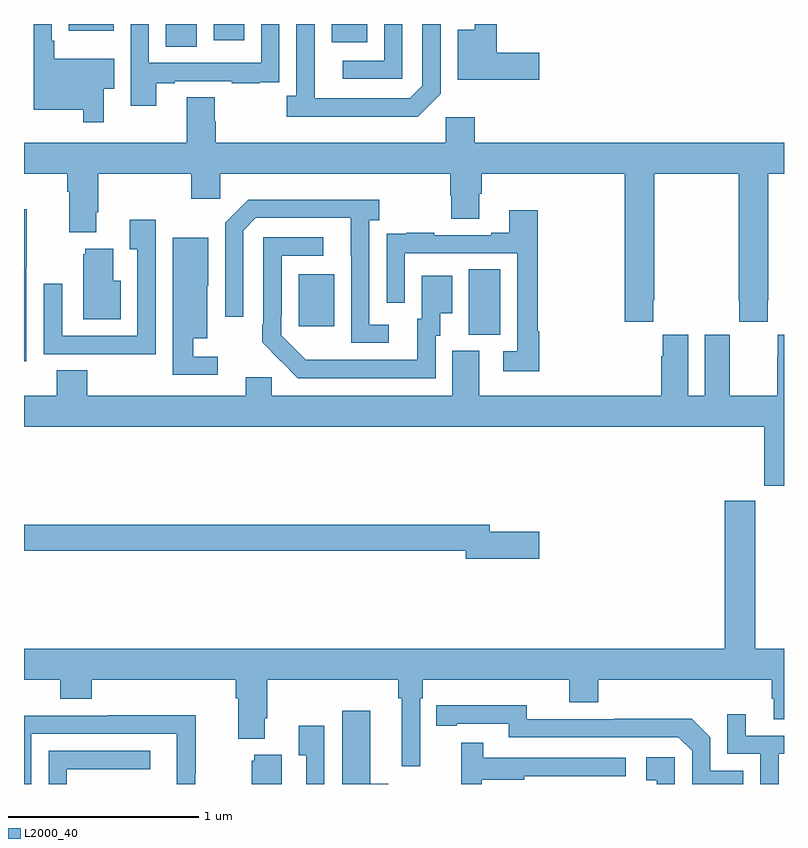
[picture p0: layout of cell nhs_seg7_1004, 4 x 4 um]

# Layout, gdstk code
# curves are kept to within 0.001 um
import gdstk
lib = gdstk.Library(unit=1e-6, precision=1e-09)
def R(c, l, rs):  # rectangles x0, y0, x1, y1
    for r in rs: c.add(gdstk.rectangle(r[:2], r[2:], *l))
def P(c, l, *ps):  # polygons
    for p in ps: c.add(gdstk.Polygon(p, *l))
L2000_40 = (2000, 40)

nhs_seg7_1004 = lib.new_cell('nhs_seg7_1004')
R(nhs_seg7_1004, L2000_40, [(185.342,1070.365,185.506,1070.708), (184.445,1070.409,184.633,1070.683), (183.746,1071.88,183.91,1072), (184.619,1071.905,184.807,1072), (183.998,1071.915,184.159,1072), (183.236,1071.965,183.472,1072)])
P(nhs_seg7_1004, L2000_40, [(185.713,1071.848),(185.489,1071.848),(185.489,1072),(185.372,1072),(185.372,1071.97),(185.282,1071.97),(185.282,1071.706),(185.713,1071.706)],
  [(183.697,1071.687),(183.793,1071.687),(183.793,1071.699),(184.093,1071.699),(184.093,1071.687),(184.241,1071.687),(184.241,1071.693),(184.343,1071.693),(184.343,1071.802),(184.344,1071.802),(184.344,1072),(184.248,1072),(184.248,1071.795),(183.657,1071.795),(183.657,1072),(183.561,1072),(183.561,1071.57),(183.697,1071.57)],
  [(183.421,1071.659),(183.475,1071.659),(183.475,1071.817),(183.16,1071.817),(183.16,1071.913),(183.147,1071.913),(183.147,1072),(183.05,1072),(183.05,1071.548),(183.312,1071.548),(183.312,1071.483),(183.421,1071.483)],
  [(184.992,1072),(184.896,1072),(184.896,1071.807),(184.677,1071.807),(184.677,1071.711),(184.992,1071.711)],
  [(185.193,1071.633),(185.193,1072),(185.097,1072),(185.097,1071.675),(185.031,1071.609),(184.531,1071.609),(184.53,1072),(184.434,1072),(184.434,1071.622),(184.383,1071.622),(184.383,1071.512),(185.072,1071.512)],
  [(186.311,1070.545),(186.318,1070.545),(186.318,1071.212),(186.763,1071.212),(186.763,1070.545),(186.765,1070.545),(186.765,1070.433),(186.915,1070.433),(186.915,1070.545),(186.918,1070.545),(186.918,1071.212),(187,1071.212),(187,1071.376),(185.372,1071.376),(185.372,1071.508),(185.22,1071.508),(185.22,1071.376),(184.01,1071.376),(184.01,1071.489),(184.005,1071.489),(184.005,1071.614),(183.857,1071.614),(183.857,1071.376),(183,1071.376),(183,1071.212),(183.227,1071.212),(183.227,1071.116),(183.239,1071.116),(183.239,1070.903),(183.379,1070.903),(183.379,1071.01),(183.392,1071.01),(183.392,1071.212),(183.881,1071.212),(183.881,1071.081),(184.032,1071.081),(184.032,1071.212),(185.243,1071.212),(185.243,1071.099),(185.248,1071.099),(185.248,1070.974),(185.395,1070.974),(185.395,1071.106),(185.408,1071.106),(185.408,1071.212),(186.163,1071.212),(186.163,1070.433),(186.311,1070.433)],
  [(184.921,1070.418),(184.818,1070.418),(184.818,1070.966),(184.87,1070.966),(184.87,1071.076),(184.18,1071.076),(184.059,1070.955),(184.059,1070.46),(184.155,1070.46),(184.155,1070.913),(184.221,1070.979),(184.721,1070.979),(184.722,1070.322),(184.921,1070.322)],
  [(183.012,1070.719),(183.015,1070.719),(183.015,1071.026),(183,1071.026),(183,1070.226),(183.012,1070.226)],
  [(185.711,1070.384),(185.704,1070.384),(185.704,1071.019),(185.555,1071.019),(185.555,1070.902),(185.459,1070.902),(185.459,1070.889),(185.159,1070.889),(185.159,1070.902),(185.011,1070.902),(185.011,1070.895),(184.909,1070.895),(184.909,1070.786),(184.908,1070.786),(184.908,1070.532),(185.004,1070.532),(185.004,1070.793),(185.595,1070.793),(185.595,1070.277),(185.523,1070.277),(185.523,1070.172),(185.711,1070.172)],
  [(183.693,1070.971),(183.557,1070.971),(183.557,1070.815),(183.597,1070.815),(183.597,1070.358),(183.201,1070.358),(183.201,1070.632),(183.105,1070.632),(183.105,1070.262),(183.421,1070.262),(183.421,1070.261),(183.693,1070.261)],
  [(185.166,1070.358),(185.191,1070.358),(185.191,1070.477),(185.254,1070.477),(185.254,1070.674),(185.093,1070.674),(185.093,1070.448),(185.069,1070.448),(185.069,1070.232),(184.482,1070.233),(184.353,1070.361),(184.353,1070.461),(184.356,1070.461),(184.356,1070.781),(184.576,1070.781),(184.576,1070.877),(184.26,1070.877),(184.26,1070.419),(184.253,1070.419),(184.253,1070.324),(184.35,1070.226),(184.351,1070.227),(184.442,1070.136),(185.166,1070.136)],
  [(184.021,1070.25),(183.892,1070.25),(183.892,1070.345),(183.964,1070.345),(183.964,1070.622),(183.97,1070.622),(183.97,1070.875),(183.782,1070.875),(183.782,1070.449),(183.783,1070.449),(183.783,1070.154),(184.021,1070.154)],
  [(183.508,1070.65),(183.469,1070.65),(183.469,1070.818),(183.323,1070.818),(183.323,1070.787),(183.311,1070.787),(183.311,1070.447),(183.508,1070.447)],
  [(187,1070.365),(186.966,1070.365),(186.966,1070.252),(186.965,1070.252),(186.965,1070.044),(186.715,1070.044),(186.715,1070.252),(186.714,1070.252),(186.714,1070.365),(186.584,1070.365),(186.584,1070.044),(186.496,1070.044),(186.496,1070.365),(186.362,1070.365),(186.362,1070.252),(186.353,1070.252),(186.353,1070.044),(185.395,1070.044),(185.395,1070.28),(185.255,1070.28),(185.255,1070.044),(184.305,1070.044),(184.305,1070.142),(184.166,1070.142),(184.166,1070.044),(183.333,1070.044),(183.333,1070.177),(183.173,1070.177),(183.173,1070.044),(183,1070.044),(183,1069.88),(186.896,1069.88),(186.896,1069.571),(187,1069.571)],
  [(185.085,1068.452),(185.099,1068.452),(185.099,1068.548),(185.87,1068.548),(185.87,1068.431),(186.023,1068.431),(186.023,1068.548),(186.935,1068.548),(186.935,1068.45),(186.947,1068.45),(186.947,1068.34),(187,1068.34),(187,1068.712),(186.849,1068.712),(186.849,1069.492),(186.689,1069.492),(186.689,1068.712),(183,1068.712),(183,1068.548),(183.191,1068.548),(183.191,1068.449),(183.356,1068.449),(183.356,1068.548),(184.115,1068.548),(184.115,1068.452),(184.127,1068.452),(184.127,1068.239),(184.267,1068.239),(184.267,1068.346),(184.28,1068.346),(184.28,1068.548),(184.969,1068.548),(184.969,1068.452),(184.988,1068.452),(184.988,1068.093),(185.085,1068.093)],
  [(185.713,1069.328),(185.452,1069.328),(185.452,1069.364),(183,1069.364),(183,1069.228),(185.324,1069.228),(185.324,1069.186),(185.713,1069.186)],
  [(186.786,1068.069),(186.612,1068.069),(186.612,1068.246),(186.514,1068.344),(186.106,1068.344),(186.106,1068.342),(185.646,1068.342),(185.646,1068.415),(185.17,1068.414),(185.17,1068.306),(185.278,1068.306),(185.278,1068.318),(185.55,1068.318),(185.55,1068.246),(186.444,1068.246),(186.516,1068.174),(186.516,1068),(186.786,1068)],
  [(184.918,1068.002),(184.822,1068.002),(184.822,1068.385),(184.676,1068.385),(184.676,1068),(184.918,1068)],
  [(186.972,1068.159),(187,1068.159),(187,1068.255),(186.799,1068.255),(186.799,1068.367),(186.702,1068.367),(186.702,1068.159),(186.876,1068.159),(186.876,1068),(186.972,1068)],
  [(183.039,1068.264),(183.804,1068.264),(183.804,1068),(183.9,1068),(183.9,1068.055),(183.903,1068.055),(183.903,1068.362),(183.439,1068.362),(183.439,1068.36),(183,1068.36),(183,1068),(183.039,1068)],
  [(184.581,1068.307),(184.445,1068.307),(184.445,1068.151),(184.485,1068.151),(184.485,1068),(184.581,1068)],
  [(185.41,1068.022),(185.633,1068.022),(185.633,1068.042),(186.166,1068.042),(186.166,1068.138),(185.417,1068.138),(185.417,1068.217),(185.301,1068.217),(185.301,1068),(185.41,1068)],
  [(183.225,1068.078),(183.664,1068.078),(183.664,1068.174),(183.129,1068.174),(183.129,1068),(183.225,1068)],
  [(184.357,1068.154),(184.211,1068.154),(184.211,1068.123),(184.199,1068.123),(184.199,1068),(184.357,1068)],
  [(186.426,1068.142),(186.276,1068.142),(186.276,1068.021),(186.329,1068.021),(186.329,1068),(186.426,1068)])

lib.write_gds('nhs_seg7_1004.gds')
